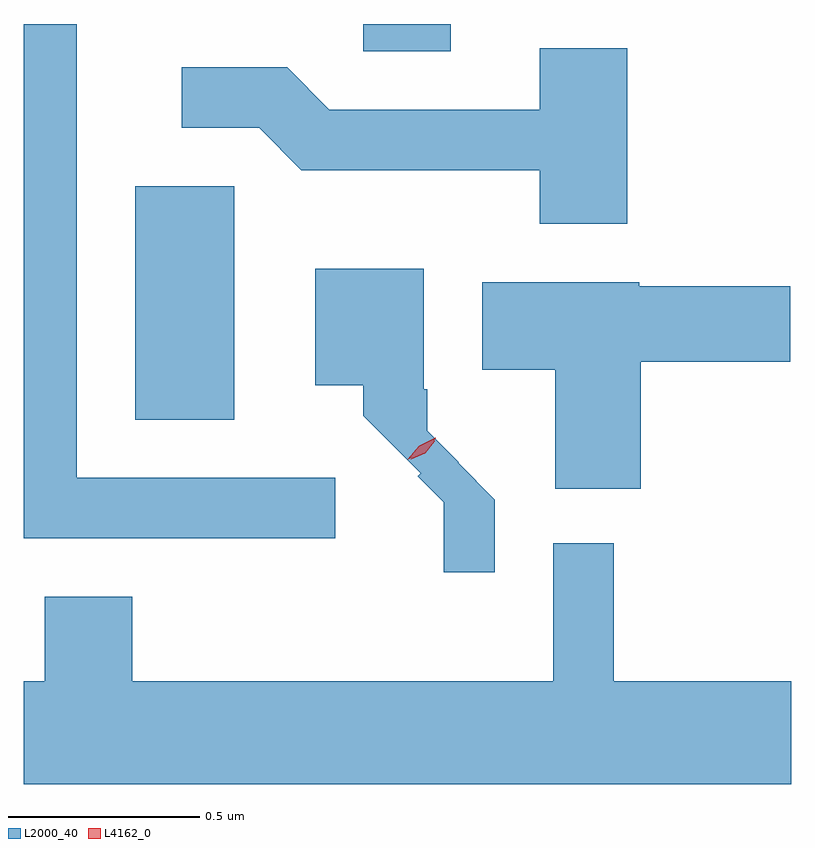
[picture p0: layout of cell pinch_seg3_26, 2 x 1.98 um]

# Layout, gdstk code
import gdstk
lib = gdstk.Library(unit=1e-6, precision=1e-09)
def R(c, l, rs):  # rectangles x0, y0, x1, y1
    for r in rs: c.add(gdstk.rectangle(r[:2], r[2:], *l))
def P(c, l, *ps):  # polygons
    for p in ps: c.add(gdstk.Polygon(p, *l))
L2000_40 = (2000, 40)
L4162_0 = (4162, 0)

pinch_seg3_26 = lib.new_cell('pinch_seg3_26')
R(pinch_seg3_26, L2000_40, [(855.766,1126.966,856.024,1127.574), (856.361,1127.926,856.589,1127.997)])
P(pinch_seg3_26, L2000_40, [(856.288,1126.814),(855.614,1126.814),(855.614,1127.997),(855.476,1127.997),(855.476,1126.656),(856.288,1126.656)],
  [(857.049,1127.934),(856.821,1127.934),(856.821,1127.774),(856.272,1127.774),(856.162,1127.884),(855.888,1127.884),(855.888,1127.726),(856.089,1127.726),(856.199,1127.616),(856.821,1127.616),(856.821,1127.476),(857.049,1127.476)],
  [(856.704,1126.757),(856.608,1126.853),(856.61,1126.855),(856.528,1126.937),(856.528,1127.045),(856.519,1127.045),(856.519,1127.359),(856.236,1127.359),(856.236,1127.056),(856.361,1127.056),(856.361,1126.976),(856.511,1126.826),(856.503,1126.818),(856.57,1126.751),(856.57,1126.568),(856.704,1126.568)],
  [(857.084,1127.116),(857.474,1127.116),(857.474,1127.314),(857.08,1127.314),(857.08,1127.324),(856.671,1127.324),(856.671,1127.096),(856.861,1127.096),(856.861,1126.786),(857.084,1126.786)],
  [(857.476,1126.284),(857.014,1126.284),(857.014,1126.643),(856.856,1126.643),(856.856,1126.284),(855.759,1126.284),(855.759,1126.504),(855.531,1126.504),(855.531,1126.284),(855.476,1126.284),(855.476,1126.016),(857.476,1126.016)])
P(pinch_seg3_26, L4162_0, [(856.477,1126.862),(856.477,1126.863),(856.507,1126.898),(856.548,1126.918),(856.549,1126.918),(856.549,1126.917),(856.519,1126.882),(856.478,1126.862)],
  [(856.485,1126.862),(856.485,1126.862),(856.51,1126.894),(856.546,1126.911),(856.547,1126.911),(856.547,1126.91),(856.522,1126.878),(856.486,1126.862)])

lib.write_gds('pinch_seg3_26.gds')
